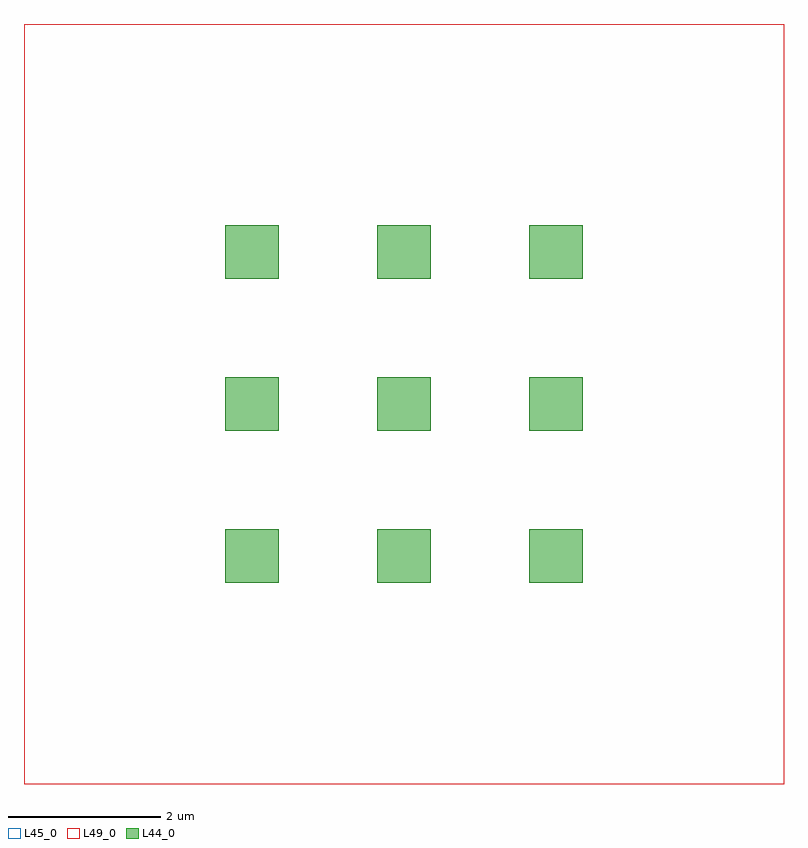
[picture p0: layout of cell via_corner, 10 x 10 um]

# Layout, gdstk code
import gdstk
lib = gdstk.Library(unit=1e-6, precision=1e-09)
def R(c, l, rs):  # rectangles x0, y0, x1, y1
    for r in rs: c.add(gdstk.rectangle(r[:2], r[2:], *l))
L44_0 = (44, 0)
L45_0 = (45, 0)
L49_0 = (49, 0)

compass_5a413983 = lib.new_cell('compass_5a413983')
R(compass_5a413983, L45_0, [(-5,-5,5,5)])

compass_0446e955 = lib.new_cell('compass_0446e955')
R(compass_0446e955, L49_0, [(-5,-5,5,5)])

via_ebd8e362 = lib.new_cell('via_ebd8e362')
R(via_ebd8e362, L44_0, [(-0.35,-0.35,0.35,0.35)])

via_corner = lib.new_cell('via_corner')
via_corner.add(gdstk.Reference(compass_5a413983, (0,0)))
via_corner.add(gdstk.Reference(compass_0446e955, (0,0)))
r = gdstk.Reference(via_ebd8e362, (-2,-2)); r.repetition = gdstk.Repetition(3, 3, v1=(2,0), v2=(0,2)); via_corner.add(r)

lib.write_gds('via_corner.gds')
